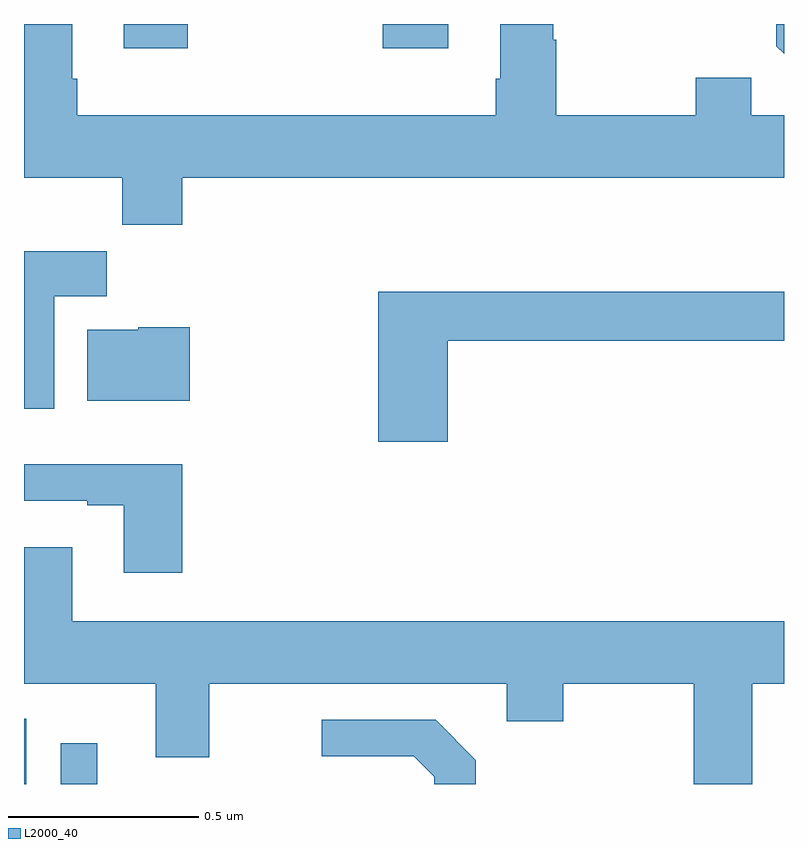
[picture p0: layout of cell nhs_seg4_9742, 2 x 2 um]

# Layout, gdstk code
import gdstk
lib = gdstk.Library(unit=1e-6, precision=1e-09)
def R(c, l, rs):  # rectangles x0, y0, x1, y1
    for r in rs: c.add(gdstk.rectangle(r[:2], r[2:], *l))
def P(c, l, *ps):  # polygons
    for p in ps: c.add(gdstk.Polygon(p, *l))
L2000_40 = (2000, 40)

nhs_seg4_9742 = lib.new_cell('nhs_seg4_9742')
R(nhs_seg4_9742, L2000_40, [(231,785.9,231.006,786.072), (231.097,785.9,231.193,786.007), (231.263,787.836,231.431,787.9), (231.944,787.836,232.117,787.9)])
P(nhs_seg4_9742, L2000_40, [(231.416,787.496),(233,787.496),(233,787.66),(232.914,787.66),(232.914,787.759),(232.768,787.759),(232.768,787.66),(232.401,787.66),(232.401,787.859),(232.393,787.859),(232.393,787.9),(232.253,787.9),(232.253,787.756),(232.241,787.756),(232.241,787.66),(231.14,787.66),(231.14,787.756),(231.127,787.756),(231.127,787.9),(231,787.9),(231,787.496),(231.259,787.496),(231.259,787.372),(231.416,787.372)],
  [(233,787.9),(232.98,787.9),(232.98,787.842),(233,787.822)],
  [(231.079,787.184),(231.218,787.184),(231.218,787.302),(231,787.302),(231,786.888),(231.079,786.888)],
  [(232.115,787.066),(233,787.066),(233,787.195),(231.932,787.195),(231.932,786.801),(232.115,786.801)],
  [(231.436,787.102),(231.3,787.102),(231.3,787.096),(231.167,787.096),(231.167,786.908),(231.436,786.908)],
  [(231.416,786.742),(231,786.742),(231,786.645),(231.167,786.645),(231.167,786.633),(231.263,786.633),(231.263,786.456),(231.416,786.456)],
  [(232.916,786.164),(233,786.164),(233,786.328),(231.127,786.328),(231.127,786.523),(231,786.523),(231,786.164),(231.347,786.164),(231.347,785.97),(231.487,785.97),(231.487,786.164),(232.271,786.164),(232.271,786.065),(232.419,786.065),(232.419,786.164),(232.763,786.164),(232.763,785.9),(232.916,785.9)],
  [(232.189,785.963),(232.083,786.069),(231.783,786.069),(231.783,785.973),(232.026,785.973),(232.08,785.919),(232.08,785.9),(232.189,785.9)])

lib.write_gds('nhs_seg4_9742.gds')
